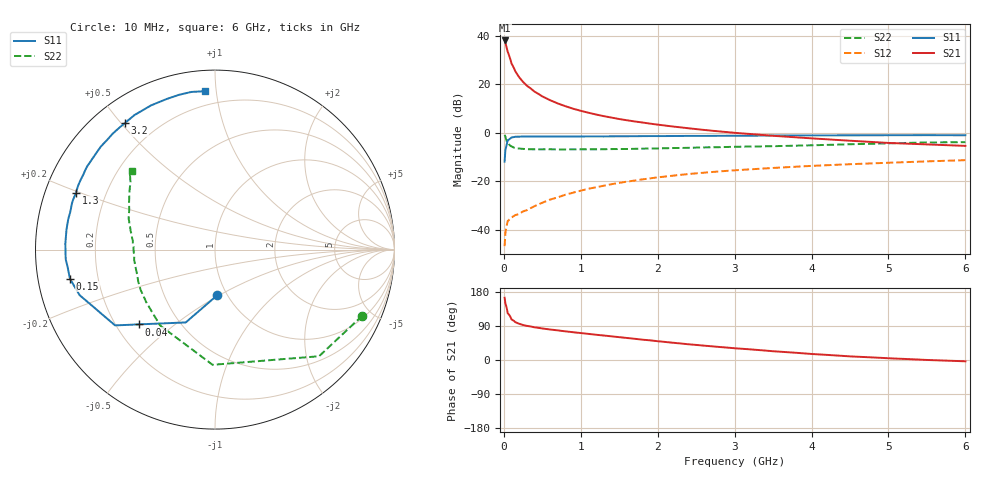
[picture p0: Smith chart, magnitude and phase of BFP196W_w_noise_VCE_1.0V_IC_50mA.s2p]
! (c) 2017  Infineon Technologies AG, Munich
! Infineon Technologies  Discrete & RF Semiconductors
! BFP196W
! VCE =  1.0 V,  IC =  50 mA
! Common Emitter S-Parameters:  Jan 2017
# GHz  S  MA  R  50
!  f  S11  S21  S12  S22
! GHz  MAG  ANG  MAG  ANG  MAG  ANG  MAG  ANG
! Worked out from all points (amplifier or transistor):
!   77 points, 10 MHz to 6 GHz, reference 50 ohm
!   highest |S21| = 38.0 dB at 10 MHz (marker M1)
!   |S21| within 3 dB of that: start of sweep to 36.66 MHz
!   unconditionally stable (mu >= 1): 585.7 MHz to 3.921 GHz; 4.099 GHz to 4.999 GHz
!   at 130 MHz: K = 0.47, MSG = 30.5 dB, |S12| = -34.3 dB
!   at 2.2 GHz: K = 1.05, MAG = 8.7 dB, |S12| = -17.7 dB
!   at 6 GHz: K = 1.00, MSG = 2.9 dB, |S12| = -11.3 dB
!   lowest NFmin = 1.36 dB at 450 MHz
!   S11 on the Smith chart (normalised r, x): 10 MHz: 0.90, -0.49; 40 MHz: 0.29, -0.38; 150 MHz: 0.10, -0.10; 1.3 GHz: 0.09, +0.19; 3.2 GHz: 0.09, +0.51; 6 GHz: 0.12, +0.93
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0.01  0.2538 -87.0  79.1 164.3  0.0046 72.5  0.8994 -24.2
0.02  0.4374 -111.9  71.27 149.4  0.0086 66.6  0.8303 -45.7
0.04  0.5956 -135.6  53.3 134.7  0.0128 49.0  0.6526 -73.6
0.05  0.6986 -142.8  46.39 123.4  0.0151 44.1  0.642 -91.2
0.1  0.7959 -161.4  26.52 106.9  0.0179 38.7  0.5218 -125.9
0.15  0.8244 -168.7  18.22 99.8  0.0201 38.9  0.4824 -142.5
0.2  0.8267 -173.2  13.78 95.5  0.0212 43.1  0.4713 -151.4
0.25  0.8333 -176.2  11.09 92.3  0.0239 46.3  0.4633 -157.3
0.3  0.8332 -178.6  9.242 90.1  0.0254 49.4  0.4566 -161.4
0.4  0.8345 177.7  6.972 86.2  0.0307 54.4  0.4534 -166.7
0.5  0.8338 174.9  5.582 83.2  0.0361 56.9  0.4532 -170.3
0.6  0.8348 172.5  4.668 80.5  0.0418 58.9  0.4542 -173.1
0.7  0.8346 170.2  4 78.2  0.0465 60.8  0.4515 -175.1
0.9  0.833 165.8  3.112 73.3  0.0581 61.8  0.4529 -178.1
1.1  0.8379 161.9  2.57 68.9  0.07 62.2  0.4542 179.2
1.3  0.8362 158.0  2.185 64.6  0.0808 61.5  0.4557 177.1
2.1  0.8505 143.1  1.398 47.6  0.1251 55.5  0.4772 168.5
3.1  0.8641 126.9  0.965 29.6  0.1716 45.8  0.5145 159.1
3.2  0.8656 125.4  0.939 28.1  0.1755 44.9  0.5172 158.1
4.1  0.8786 112.7  0.746 14.7  0.2102 36.7  0.5542 149.6
5.1  0.8856 102.1  0.606 3.7  0.2431 28.5  0.6076 140.9
6  0.884 93.7  0.534 -3.5  0.2714 21.4  0.6375 136.4
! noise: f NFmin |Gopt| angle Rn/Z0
0.45  1.36  0.51  -177  0.05
0.9  1.48  0.55  -171  0.07
1.9  2.3  0.69  -149  0.16
2.4  2.7  0.73  -144  0.26
